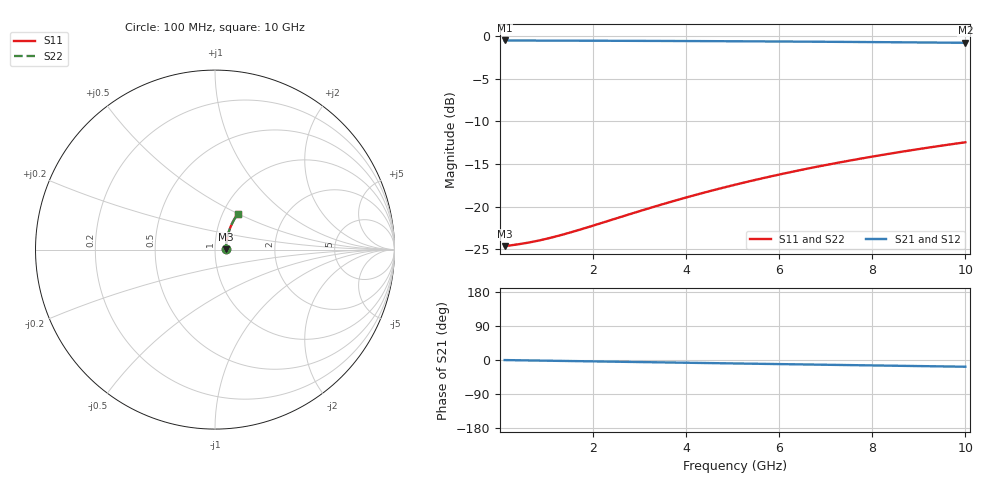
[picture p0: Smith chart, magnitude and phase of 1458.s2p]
# Hz S RI R 50.00
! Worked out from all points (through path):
!   100 points, 100 MHz to 10 GHz, reference 50 ohm
!   highest |S21| = -0.53 dB at 100 MHz (marker M1); lowest = -0.8 dB at 10 GHz (marker M2)
!   group delay of S21, straight-line fit = 4.94 ps
!   lowest |S11| = -24.6 dB at 100 MHz (marker M3), VSWR 1.12, Z = 56.2 + j0.25 ohm
!   |S11| at or under -10 dB: start of sweep to end of sweep
!   |S22| runs from -24.6 to -12.4 dB; largest |S21 - S12| = 0
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1e8  0.0588 0.00221  0.9412 -0.00298  0.9412 -0.00298  0.0588 0.00221
5e8  0.0599 0.011  0.94 -0.0149  0.94 -0.0149  0.0599 0.011
7e8  0.0604 0.0154  0.9396 -0.0208  0.9396 -0.0208  0.0604 0.0154
9e8  0.0609 0.0198  0.9391 -0.0267  0.9391 -0.0267  0.0609 0.0198
1.1e9  0.0614 0.0242  0.9386 -0.0327  0.9386 -0.0327  0.0614 0.0242
1.3e9  0.0619 0.0286  0.9381 -0.0386  0.9381 -0.0386  0.0619 0.0286
1.5e9  0.0624 0.0329  0.9375 -0.0445  0.9375 -0.0445  0.0624 0.0329
1.8e9  0.0633 0.0395  0.9366 -0.0533  0.9366 -0.0533  0.0633 0.0395
2.9e9  0.0675 0.0632  0.9322 -0.0855  0.9322 -0.0855  0.0675 0.0632
3.4e9  0.0699 0.0739  0.9297 -0.1  0.9297 -0.1  0.0699 0.0739
3.9e9  0.0726 0.0844  0.927 -0.1144  0.927 -0.1144  0.0726 0.0844
4.3e9  0.0749 0.0928  0.9245 -0.1259  0.9245 -0.1259  0.0749 0.0928
4.7e9  0.0775 0.1011  0.9218 -0.1373  0.9218 -0.1373  0.0775 0.1011
5.1e9  0.0802 0.1093  0.9189 -0.1486  0.9189 -0.1486  0.0802 0.1093
5.5e9  0.0832 0.1174  0.9158 -0.1598  0.9158 -0.1598  0.0832 0.1174
5.9e9  0.0863 0.1254  0.9126 -0.1709  0.9126 -0.1709  0.0863 0.1254
6.3e9  0.0897 0.1334  0.9091 -0.1819  0.9091 -0.1819  0.0897 0.1334
6.7e9  0.0932 0.1412  0.9054 -0.1928  0.9054 -0.1928  0.0932 0.1412
7.5e9  0.1007 0.1565  0.8975 -0.2142  0.8975 -0.2142  0.1007 0.1565
8.4e9  0.11 0.1731  0.8878 -0.2378  0.8878 -0.2378  0.11 0.1731
9.2e9  0.119 0.1873  0.8784 -0.2582  0.8784 -0.2582  0.119 0.1873
1e10  0.1285 0.201  0.8684 -0.2781  0.8684 -0.2781  0.1285 0.201
